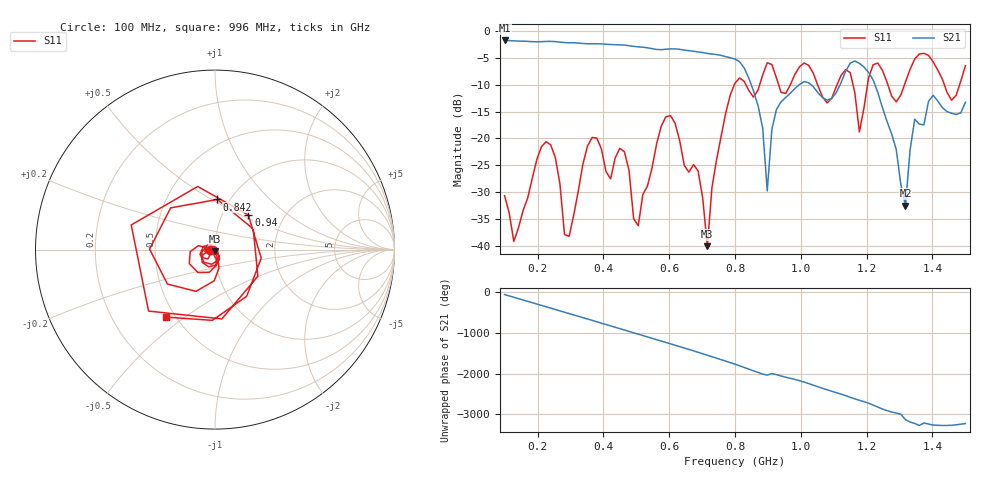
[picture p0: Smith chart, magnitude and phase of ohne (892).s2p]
! NanoVNA-App
! Date: 2025-09-25 14:27:44
! Start: 100MHz Stop: 1,5GHz Points: 101
! S-Parameter data: F S11 S21 S12 S22
# Hz S RI R 50
!  Frequency  S11_Real  S11_Imag  S21_Real  S21_Imag  S12_Real  S12_Imag  S22_Real  S22_Imag
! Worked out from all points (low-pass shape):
!   101 points, 100 MHz to 1.5 GHz, reference 50 ohm
!   highest |S21| = -1.79 dB at 100 MHz (marker M1); lowest = -32.5 dB at 1.318 GHz (marker M2)
!   |S21| within 3 dB of the highest: start of sweep to 771.1 MHz
!   lowest |S11| = -40.0 dB at 716 MHz (marker M3), VSWR 1.02, Z = 49.8 - j0.969 ohm
!   |S11| at or under -10 dB: start of sweep to 798.1 MHz; 833.1 MHz to 875.1 MHz (42 MHz wide, 4.92 % of centre); 1.051 GHz to 1.11 GHz (59.44 MHz wide, 5.5 % of centre) (the widest 3 of 7)
!   S12 and S22 are empty: the file has one direction only
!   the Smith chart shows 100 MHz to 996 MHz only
!   S11 on the Smith chart (normalised r, x): 100 MHz: 0.94, -0.01; 842 MHz: 0.88, +0.53; 940 MHz: 1.33, +0.55; 996 MHz: 0.45, -0.43
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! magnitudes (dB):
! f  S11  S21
! 100 MHz  -30.6  -1.8
! 128 MHz  -39.1  -1.9
! 226 MHz  -20.6  -2.0
! 296 MHz  -38.2  -2.2
! 338 MHz  -24.7  -2.4
! 464 MHz  -22.5  -2.7
! 506 MHz  -36.2  -3.0
! 576 MHz  -17.7  -3.5
! 688 MHz  -26.0  -3.9
! 716 MHz  -40.0  -4.2
! 800 MHz  -9.7  -5.2
! 842 MHz  -11.1  -8.8
! 898 MHz  -5.9  -29.7
! 940 MHz  -11.4  -13.2
! 996 MHz  -6.7  -10.0
! 1.038 GHz  -7.9  -10.4
! 1.178 GHz  -18.8  -6.1
! 1.22 GHz  -6.3  -9.2
! 1.276 GHz  -12.1  -19.2
! 1.318 GHz  -9.5  -32.5
! 1.346 GHz  -5.3  -16.4
! 1.5 GHz  -6.5  -13.3
